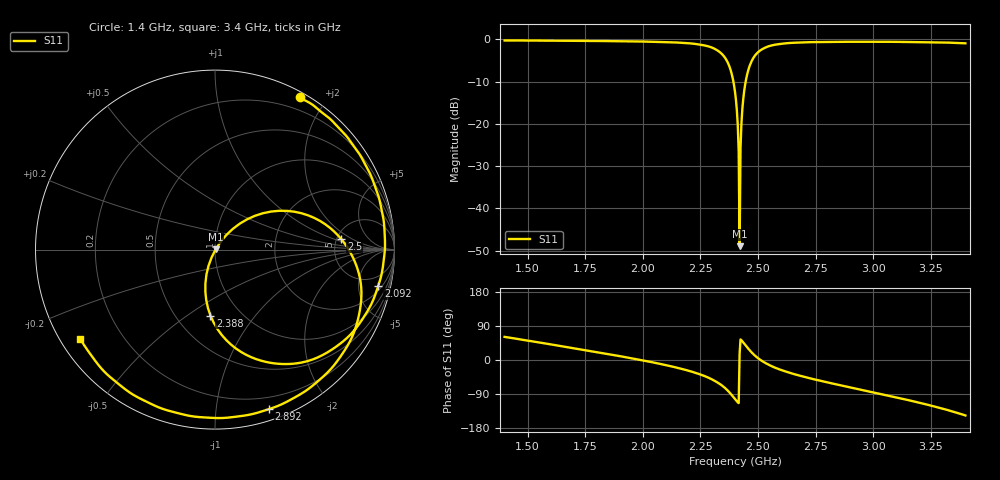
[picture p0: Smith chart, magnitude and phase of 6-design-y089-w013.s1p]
#  Hz  S  RI  R  50
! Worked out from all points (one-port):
!   501 points, 1.4 GHz to 3.4 GHz, reference 50 ohm
!   lowest |S11| = -48.9 dB at 2.42 GHz (marker M1), VSWR 1.01, Z = 50.3 + j0.104 ohm
!   |S11| at or under -10 dB: 2.393 GHz to 2.446 GHz (53.24 MHz wide, 2.2 % of centre)
!   S11 on the Smith chart (normalised r, x): 1.4 GHz: 0.06, +1.70; 2.092 GHz: 2.70, -8.27; 2.388 GHz: 0.73, -0.62; 2.5 GHz: 5.50, +1.28; 2.892 GHz: 0.09, -1.39; 3.4 GHz: 0.06, -0.30
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1.4e9  0.4709 0.8494
1.652e9  0.7797 0.568
1.9e9  0.9385 0.1698
2.092e9  0.9099 -0.2014
2.152e9  0.8582 -0.3281
2.252e9  0.6747 -0.541
2.32e9  0.4005 -0.6377
2.356e9  0.1737 -0.5862
2.388e9  -0.0253 -0.3674
2.4e9  -0.0538 -0.2339
2.408e9  -0.0475 -0.1379
2.412e9  -0.036 -0.0901
2.42e9  0.00343 0.00104
2.424e9  0.0309 0.0428
2.428e9  0.0629 0.081
2.432e9  0.0988 0.1151
2.436e9  0.1381 0.1446
2.448e9  0.268 0.2029
2.468e9  0.4818 0.2026
2.5e9  0.7038 0.0582
2.556e9  0.8155 -0.225
2.652e9  0.7339 -0.5429
2.768e9  0.5427 -0.7592
2.892e9  0.3014 -0.8885
2.9e9  0.2854 -0.8937
3.152e9  -0.2547 -0.8987
3.284e9  -0.5369 -0.7491
3.4e9  -0.7494 -0.4982
